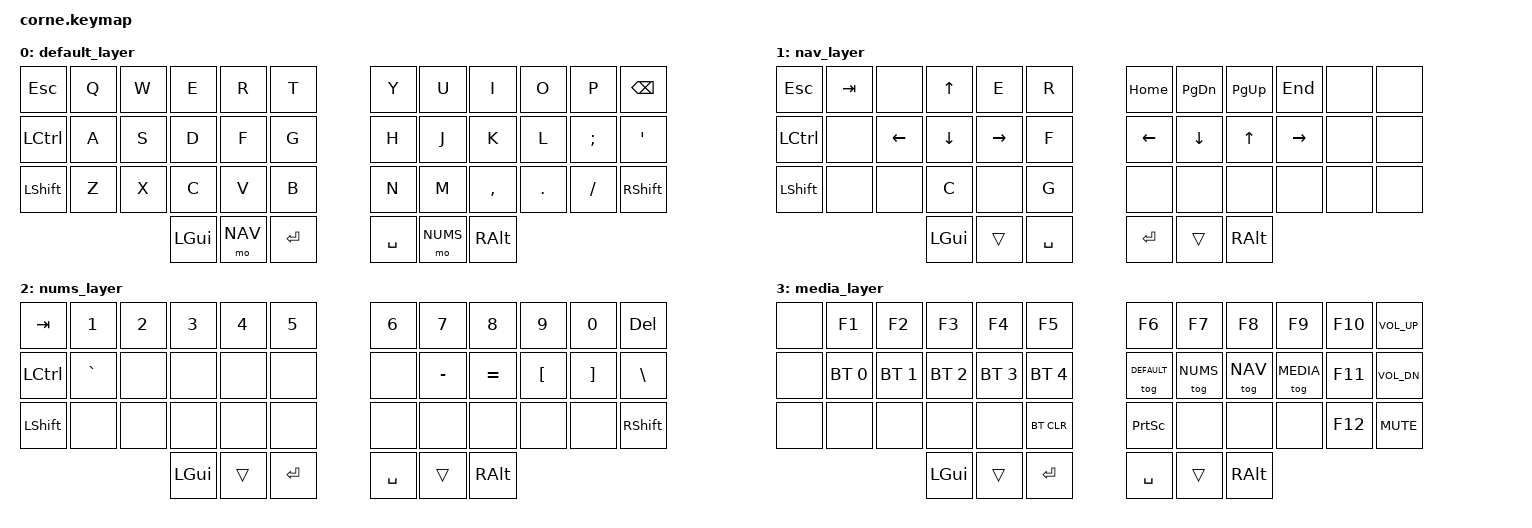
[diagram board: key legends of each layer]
/*
 * Copyright (c) 2020 The ZMK Contributors
 *
 * SPDX-License-Identifier: MIT
 */

#include <behaviors.dtsi>
#include <dt-bindings/zmk/keys.h>
#include <dt-bindings/zmk/bt.h>

#define DEFAULT 0
#define NAV     1
#define NUMS    2
#define MEDIA   3

/ {
        conditional_layers {
            compatible = "zmk,conditional-layers";
            tri_layer {
                if-layers = <NUMS NAV>;
                then-layer = <MEDIA>;
            };
        };

        keymap {
                compatible = "zmk,keymap";

                default_layer {
// -----------------------------------------------------------------------------------------
// |  ESC |  Q  |  W  |  E  |  R  |  T  |   |  Y  |  U   |  I  |  O  |  P  | BKSP |
// | CTRL |  A  |  S  |  D  |  F  |  G  |   |  H  |  J   |  K  |  L  |  ;  |  '   |
// | SHFT |  Z  |  X  |  C  |  V  |  B  |   |  N  |  M   |  ,  |  .  |  /  | SHFT |
//                    | GUI | NAV | SPC |   | ENT | NUMS | ALT |
                        bindings = <
   &kp ESC   &kp Q &kp W &kp E    &kp R   &kp T   &kp Y     &kp U    &kp I     &kp O   &kp P    &kp BSPC
   &kp LCTRL &kp A &kp S &kp D    &kp F   &kp G   &kp H     &kp J    &kp K     &kp L   &kp SEMI &kp SQT
   &kp LSHFT &kp Z &kp X &kp C    &kp V   &kp B   &kp N     &kp M    &kp COMMA &kp DOT &kp FSLH &kp RSHFT
                         &kp LGUI &mo NAV &kp RET &kp SPACE &mo NUMS &kp RALT
                        >;
                };

                nav_layer {
// -----------------------------------------------------------------------------------------
// |  ESC | TAB |      |  UP |   E  |  R  |   | HOME | PGDN | PGUP |  END |    |    |
// | CTRL |     | LEFT | DWN | RGHT |  F  |   | LEFT |  DWN |  UP  | RGHT |    |    |
// | SHFT |     |      |  C  |      |  G  |   |      |      |      |      |    |    |
//                     | GUI |      | SPC |   | ENT  |      | ALT  |
                        bindings = <
   &kp ESC   &kp TAB &none    &kp UP   &kp E     &kp R     &kp HOME &kp PG_DN &kp PG_UP &kp END   &none &none
   &kp LCTRL &none   &kp LEFT &kp DOWN &kp RIGHT &kp F     &kp LEFT &kp DOWN  &kp UP    &kp RIGHT &none &none
   &kp LSHFT &none   &none    &kp C    &none     &kp G     &none    &none     &none     &none     &none &none
                              &kp LGUI &trans    &kp SPACE &kp RET   &trans    &kp RALT
                        >;
                };

                nums_layer {
// -----------------------------------------------------------------------------------------
// |  TAB |  1  |  2  |  3  |  4  |  5  |   |  6  |  7  |  8  |  9  |  0  | DEL  |
// | CTRL |  `  |     |     |     |     |   |     |  -  |  =  |  [  |  ]  |  \   |
// | SHFT |     |     |     |     |     |   |     |     |     |     |     | SHFT |
//                    | GUI |     | ENT |   | SPC |     | ALT |
                        bindings = <
   &kp TAB   &kp N1    &kp N2 &kp N3   &kp N4 &kp N5  &kp N6    &kp N7    &kp N8    &kp N9   &kp N0   &kp DEL
   &kp LCTRL &kp GRAVE &none  &none    &none  &none   &none     &kp MINUS &kp EQUAL &kp LBKT &kp RBKT &kp BSLH
   &kp LSHFT &none     &none  &none    &none  &none   &none     &none     &none     &none    &none    &kp RSHFT
                              &kp LGUI &trans &kp RET &kp SPACE &trans    &kp RALT
                        >;
                };

                media_layer {
// -----------------------------------------------------------------------------------------
// |    |  F1 |  F2 |  F3 |  F4 |   F5  |   |    F6    |  F7  |  F8  |  F9  | F10 | VOL_UP |
// |    | BT1 | BT2 | BT3 | BT4 |  BT5  |   |   TOG0   | TOG1 | TOG2 | TOG3 | F11 | VOL_DN |
// |    |     |     |     |     | BTCLR |   | PRNTSCRN |      |      |      | F12 |  MUTE  |
//                  | GUI |     |  ENT  |   |    SPC   |      | ALT  |
                        bindings = <
    &none &kp F1       &kp F2       &kp F3       &kp F4       &kp F5       &kp F6       &kp F7    &kp F8   &kp F9     &kp F10 &kp C_VOL_UP
    &none &bt BT_SEL 0 &bt BT_SEL 1 &bt BT_SEL 2 &bt BT_SEL 3 &bt BT_SEL 4 &tog DEFAULT &tog NUMS &tog NAV &tog MEDIA &kp F11 &kp C_VOL_DN
    &none &none        &none        &none        &none        &bt BT_CLR   &kp PSCRN    &none     &none    &none      &kp F12 &kp C_MUTE
                                    &kp LGUI     &trans       &kp RET      &kp SPACE    &trans    &kp RALT
                        >;
                };
        };
};
